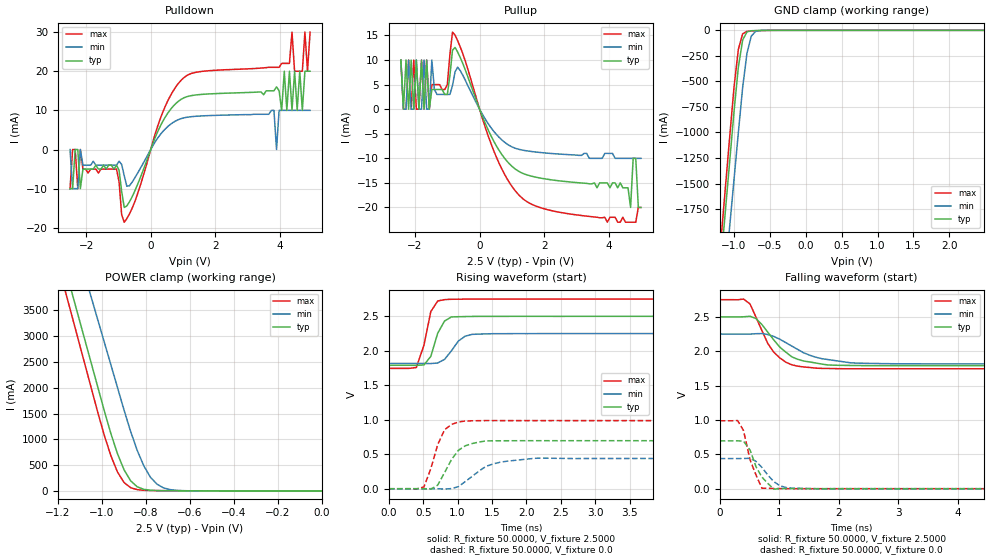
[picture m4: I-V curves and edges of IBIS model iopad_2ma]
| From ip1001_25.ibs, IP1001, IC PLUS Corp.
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|   Model iopad_2ma
[Model]  iopad_2ma
Model_type I/O
Polarity   Non-Inverting
Enable   Active-Low
Vinl =   0.8000V
Vinh =   1.8000V
Vmeas =  1.2500V
C_comp   0.3000pF   0.2400pF   0.3600pF
[Temperature Range]   27.0000   100.0000   0.0
[Voltage Range]   2.5000V   2.2500V   2.7500V
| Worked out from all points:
|   slope of the pulldown table from 0 to 0.375 V, typ, clamps not added: 52 ohm
|   slope of the pullup table from 0 to 0.375 V, typ, clamps not added: 65.7 ohm
|   GND clamp passes 1 mA (typ) near -0.63 V on its own axis
|   POWER clamp passes 1 mA (typ) near -0.57 V on its own axis
|   rising waveform, R_fixture 50.0000, V_fixture 2.5000: 20-80 % time 155ps typ, 210ps min, 142ps max; typ from 1.79 V to 2.5 V
|   rising waveform, R_fixture 50.0000, V_fixture 0.0: 20-80 % time 253ps typ, 403ps min, 205ps max; typ from 0 V to 0.696 V
|   falling waveform, R_fixture 50.0000, V_fixture 2.5000: 20-80 % time 456ps typ, 630ps min, 376ps max; typ from 2.5 V to 1.79 V
|   falling waveform, R_fixture 50.0000, V_fixture 0.0: 20-80 % time 229ps typ, 272ps min, 197ps max; typ from 0.696 V to 0 V
[Pulldown]
|Voltage   I(typ)   I(min)   I(max)
-2.5V     -10mA      0A         -10mA
-2.42V    -10mA      -10mA      0A
-1.06V    -4mA       -4mA       -5mA
-820mV    -14.81mA   -6.7mA     -18.57mA
940mV     12.81mA    7.883mA    17.66mA
3.9V      16mA       0A         21mA
4.14V     20mA       10mA       22mA
4.22V     10mA       10mA       22mA
4.3V      20mA       10mA       22mA
4.38V     10mA       10mA       30mA
4.86V     20mA       10mA       20mA
4.94V     20mA       10mA       30mA
[Pullup]
|Voltage   I(typ)   I(min)   I(max)
-2.44V    10mA       10mA       10mA
-2.36V    0A         0A         0A
-2.28V    10mA       0A         0A
-2.2V     0A         10mA       10mA
-1.64V    10mA       0A         10mA
-1.56V    0A         0A         0A
-1.48V    4mA        10mA       5mA
-840mV    12mA       4.8mA      15.69mA
1.48V     -13.39mA   -8.496mA   -18.87mA
4.68V     -20mA      -10mA      -23mA
4.84V     -10mA      -10mA      -23mA
5V        -20mA      -10mA      -20mA
[GND_clamp]
|Voltage   I(typ)   I(min)   I(max)
-2.5V     -12.93A    -12.87A    -12.97A
-1.18V    -2.249A    -2.828A    -2.033A
-1.12V    -1.763A    -2.371A    -1.535A
-1.06V    -1.278A    -1.914A    -1.038A
-1V       -792.5mA   -1.458A    -553.9mA
-940mV    -360.7mA   -1.001A    -186.7mA
-880mV    -94.64mA   -559.3mA   -34.17mA
-820mV    -15.98mA   -224.8mA   -9.643mA
-760mV    -4.328mA   -57.1mA    -5.898mA
-700mV    -2.122mA   -10.8mA    -4.108mA
-640mV    -1.103mA   -2.066mA   -2.655mA
2.48V     17.28pA    560.9nA    -93.93pA
[POWER_clamp]
|Voltage   I(typ)   I(min)   I(max)
-2.49V    24.9A      24.89A     24.94A
-1.17V    4.361A     5.529A     3.923A
-1.14V    3.894A     5.089A     3.445A
-1.11V    3.427A     4.649A     2.967A
-1.05V    2.493A     3.769A     2.012A
-960mV    1.115A     2.449A     684.3mA
-900mV    410.3mA    1.569A     163.2mA
-870mV    195.4mA    1.152A     62.28mA
-810mV    30.55mA    484.8mA    12.48mA
-750mV    6.57mA     129.6mA    6.615mA
-630mV    1.841mA    4.742mA    3.357mA
0V        80.13pA    246.2pA    118.4pA
[Ramp]
| variable   typ   min   max
dV/dt_r  0.4177/0.2533n   0.2630/0.3952n   0.5928/0.2050n
dV/dt_f  0.4260/0.4556n   0.2604/0.6197n   0.6030/0.3758n
R_load = 50.0000
[Rising Waveform]
R_fixture= 50.0000
V_fixture= 2.5000
V_fixture_min= 2.2500
V_fixture_max= 2.7500
|time   V(typ)   V(min)   V(max)
0s        1.79V      1.816V     1.745V
400ps     1.789V     1.816V     1.758V
510ps     1.795V     1.816V     2.08V
610ps     1.919V     1.815V     2.568V
710ps     2.254V     1.823V     2.722V
810ps     2.432V     1.876V     2.742V
910ps     2.491V     2V         2.747V
1.01ns    2.494V     2.141V     2.748V
1.21ns    2.498V     2.238V     2.749V
10ns      2.5V       2.25V      2.75V
[Rising Waveform]
R_fixture= 50.0000
V_fixture= 0.0
V_fixture_min= 0.0
V_fixture_max= 0.0
|time   V(typ)   V(min)   V(max)
0s        0V         0V         0V
510ps     -684.3uV   -4.325uV   25.2mV
610ps     -6.439mV   352.3uV    290mV
710ps     52.32mV    -435.9uV   638.6mV
810ps     233.3mV    -5.099mV   855mV
1.01ns    556.1mV    29.51mV    966.9mV
1.11ns    622mV      103.3mV    981.8mV
1.41ns    693.4mV    323.7mV    988.2mV
2.12ns    696.1mV    441.1mV    987.9mV
10ns      696.2mV    438.4mV    988mV
[Falling Waveform]
R_fixture= 50.0000
V_fixture= 2.5000
V_fixture_min= 2.2500
V_fixture_max= 2.7500
|time   V(typ)   V(min)   V(max)
0s        2.5V       2.25V      2.75V
400ps     2.501V     2.249V     2.759V
510ps     2.509V     2.249V     2.688V
610ps     2.476V     2.255V     2.496V
810ps     2.276V     2.243V     2.111V
910ps     2.164V     2.215V     1.985V
1.21ns    1.92V      2.076V     1.803V
1.41ns    1.858V     1.978V     1.771V
2.42ns    1.791V     1.825V     1.745V
10ns      1.79V      1.816V     1.745V
[Falling Waveform]
R_fixture= 50.0000
V_fixture= 0.0
V_fixture_min= 0.0
V_fixture_max= 0.0
|time   V(typ)   V(min)   V(max)
0s        696.2mV    438.4mV    988mV
300ps     696.5mV    438.3mV    992.1mV
400ps     691.7mV    439.5mV    847.8mV
510ps     563.1mV    442.5mV    421.7mV
610ps     321.1mV    398.5mV    201.3mV
710ps     168.3mV    309.7mV    6.983mV
910ps     -6.813mV   103.3mV    3.244mV
1.01ns    1.723mV    43.8mV     1.677mV
1.21ns    1.611mV    8.272mV    763.9uV
10ns      22.83uV    -17.86uV   -1.25uV
